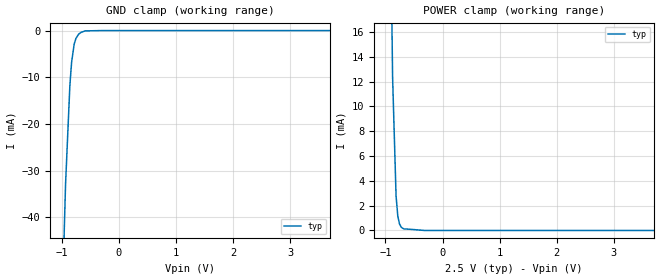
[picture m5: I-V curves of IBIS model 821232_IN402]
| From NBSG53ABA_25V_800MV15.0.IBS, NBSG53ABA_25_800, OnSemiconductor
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| COPYRIGHT(C) MENTOR GRAPHICS CORPORATION 2002 ALL
| RIGHTS RESERVED. THIS WORK CONTAINS PROPRIETARY
| INFORMATION WHICH IS THE PROPERTY OF MENTOR GRAPHICS
| CORPORATION OR ITS LICENSORS. USE OF THESE MATERIALS
| IS SUBJECT TO THE TERMS BELOW.
| USE: YOU MAY USE IBIS MODELS SOLELY FOR DEVELOPING
| PRINTED CIRCUIT BOARD DESIGNS. NO OTHER USE OR
| DISTRIBUTION OF THESE MATERIALS IS PERMITTED.
| Model Application Version 1.89 2/18/99.
[Model] 821232_IN402
Model_type Input
Vinl = 200.0mV
Vinh = 1.200V
C_comp 1.000pF NA NA
| variable typ   min   max
[Voltage Range] 2.500V NA NA
[GND Clamp Reference] 0.000V NA NA
[POWER Clamp Reference] 2.500V NA NA
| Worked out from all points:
|   GND clamp passes 1 mA (typ) near -0.72 V on its own axis
|   POWER clamp passes 1 mA (typ) near -0.78 V on its own axis
[GND Clamp]
-2.5V     -715.5mA   NA         NA
-932.4mV  -32.95mA   NA         NA
-856.5mV  -11.65mA   NA         NA
-826.4mV  -6.748mA   NA         NA
-780.7mV  -2.808mA   NA         NA
-750mV    -1.622mA   NA         NA
-704.7mV  -732.5uA   NA         NA
-659mV    -317.4uA   NA         NA
-587.7mV  -11.23uA   NA         NA
-293.8mV  59.88uA    NA         NA
5V        59.88uA    NA         NA
[POWER Clamp]
-2.5V     617.8mA    NA         NA
-874.9mV  12.4mA     NA         NA
-813.9mV  2.785mA    NA         NA
-783.5mV  1.146mA    NA         NA
-753.1mV  514.2uA    NA         NA
-722.5mV  260uA      NA         NA
-681.9mV  133.9uA    NA         NA
-651.6mV  115.3uA    NA         NA
-621.2mV  115.3uA    NA         NA
-310.6mV  0A         NA         NA
5V        0A         NA         NA
